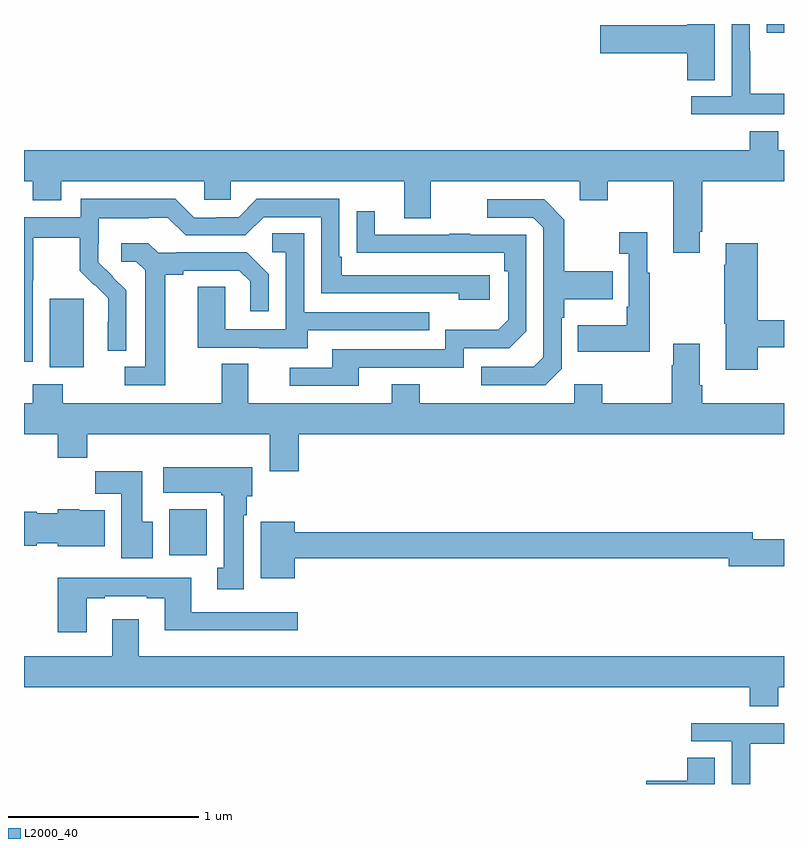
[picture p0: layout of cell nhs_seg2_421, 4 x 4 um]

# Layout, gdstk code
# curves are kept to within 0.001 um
import gdstk
lib = gdstk.Library(unit=1e-6, precision=1e-09)
def R(c, l, rs):  # rectangles x0, y0, x1, y1
    for r in rs: c.add(gdstk.rectangle(r[:2], r[2:], *l))
def P(c, l, *ps):  # polygons
    for p in ps: c.add(gdstk.Polygon(p, *l))
L2000_40 = (2000, 40)

nhs_seg2_421 = lib.new_cell('nhs_seg2_421')
R(nhs_seg2_421, L2000_40, [(131.765,643.004,131.962,643.246), (131.135,643.994,131.314,644.355), (134.909,645.753,135,645.8)])
P(nhs_seg2_421, L2000_40, [(135,645.433),(134.823,645.433),(134.823,645.656),(134.82,645.656),(134.82,645.8),(134.724,645.8),(134.724,645.42),(134.511,645.42),(134.511,645.324),(135,645.324)],
  [(134.635,645.8),(134.492,645.8),(134.492,645.794),(134.034,645.794),(134.034,645.647),(134.492,645.647),(134.492,645.505),(134.635,645.505)],
  [(134.557,644.707),(134.57,644.707),(134.57,644.972),(135,644.972),(135,645.136),(134.971,645.136),(134.971,645.235),(134.819,645.235),(134.819,645.136),(131,645.136),(131,644.972),(131.045,644.972),(131.045,644.873),(131.197,644.873),(131.197,644.972),(131.949,644.972),(131.949,644.874),(132.087,644.874),(132.087,644.972),(133.001,644.972),(133.001,644.778),(133.141,644.778),(133.141,644.972),(133.925,644.972),(133.925,644.873),(134.073,644.873),(134.073,644.972),(134.417,644.972),(134.417,644.595),(134.557,644.595)],
  [(131.046,644.452),(131.049,644.452),(131.049,644.676),(131.293,644.676),(131.293,644.501),(131.37,644.424),(131.373,644.427),(131.444,644.357),(131.444,644.234),(131.442,644.234),(131.442,644.08),(131.538,644.08),(131.538,644.398),(131.392,644.546),(131.392,644.643),(131.394,644.643),(131.394,644.777),(131.657,644.777),(131.657,644.781),(131.757,644.781),(131.85,644.688),(132.165,644.688),(132.261,644.784),(132.564,644.784),(132.564,644.382),(133.289,644.382),(133.289,644.348),(133.45,644.348),(133.45,644.478),(132.673,644.478),(132.673,644.575),(132.66,644.575),(132.66,644.88),(132.225,644.88),(132.129,644.784),(132.011,644.784),(132.011,644.781),(131.895,644.781),(131.795,644.881),(131.298,644.881),(131.298,644.784),(131,644.784),(131,644.023),(131.046,644.023)],
  [(133.83,643.986),(133.83,644.255),(133.843,644.255),(133.843,644.351),(134.099,644.351),(134.099,644.499),(133.843,644.499),(133.843,644.771),(133.737,644.877),(133.437,644.877),(133.437,644.781),(133.68,644.781),(133.734,644.727),(133.734,644.046),(133.683,643.995),(133.407,643.995),(133.407,643.899),(133.743,643.899)],
  [(132.763,643.992),(133.314,643.992),(133.314,644.094),(133.554,644.094),(133.644,644.184),(133.644,644.691),(133.349,644.691),(133.349,644.696),(133.237,644.696),(133.237,644.691),(132.847,644.691),(132.847,644.815),(132.751,644.815),(132.751,644.596),(133.528,644.595),(133.528,644.498),(133.548,644.498),(133.548,644.244),(133.495,644.191),(133.218,644.191),(133.218,644.088),(132.623,644.088),(132.623,643.992),(132.399,643.992),(132.399,643.896),(132.763,643.896)],
  [(134.293,644.491),(134.281,644.491),(134.281,644.704),(134.133,644.704),(134.133,644.591),(134.184,644.591),(134.184,644.311),(134.172,644.311),(134.172,644.215),(133.915,644.215),(133.915,644.075),(134.293,644.075)],
  [(132.493,644.187),(133.133,644.187),(133.133,644.283),(132.474,644.283),(132.474,644.699),(132.306,644.699),(132.306,644.598),(132.378,644.598),(132.378,644.193),(132.06,644.193),(132.06,644.417),(131.915,644.417),(131.915,644.097),(132.239,644.097),(132.239,644.093),(132.493,644.093)],
  [(134.861,644.098),(135,644.098),(135,644.24),(134.861,644.24),(134.861,644.647),(134.693,644.647),(134.693,644.534),(134.686,644.534),(134.686,644.223),(134.693,644.223),(134.693,643.98),(134.861,643.98)],
  [(131.743,644.48),(131.839,644.48),(131.839,644.502),(132.134,644.502),(132.191,644.445),(132.191,644.289),(132.288,644.289),(132.288,644.482),(132.172,644.598),(131.8,644.598),(131.8,644.595),(131.706,644.595),(131.654,644.647),(131.511,644.647),(131.511,644.55),(131.592,644.55),(131.639,644.503),(131.639,643.995),(131.529,643.995),(131.529,643.899),(131.743,643.899)],
  [(132.446,643.64),(135,643.64),(135,643.804),(134.57,643.804),(134.57,643.9),(134.557,643.9),(134.557,644.116),(134.417,644.116),(134.417,644.003),(134.41,644.003),(134.41,643.804),(134.043,643.804),(134.043,643.903),(133.896,643.903),(133.896,643.804),(133.083,643.804),(133.083,643.903),(132.935,643.903),(132.935,643.804),(132.181,643.804),(132.181,644.012),(132.041,644.012),(132.041,643.804),(131.205,643.804),(131.205,643.903),(131.045,643.903),(131.045,643.804),(131,643.804),(131,643.64),(131.177,643.64),(131.177,643.516),(131.333,643.516),(131.333,643.64),(132.293,643.64),(132.293,643.446),(132.446,643.446)],
  [(132.157,643.214),(132.172,643.214),(132.172,643.314),(132.202,643.314),(132.202,643.468),(131.733,643.468),(131.733,643.334),(132.037,643.334),(132.037,643.321),(132.05,643.321),(132.05,642.938),(132.017,642.938),(132.017,642.825),(132.157,642.825)],
  [(131.677,643.18),(131.623,643.18),(131.623,643.447),(131.374,643.447),(131.374,643.328),(131.513,643.328),(131.513,642.987),(131.677,642.987)],
  [(131.425,643.24),(131.292,643.24),(131.292,643.246),(131.178,643.246),(131.178,643.225),(131.067,643.225),(131.067,643.233),(131,643.233),(131,643.055),(131.067,643.055),(131.067,643.067),(131.178,643.067),(131.178,643.052),(131.425,643.052)],
  [(132.424,642.988),(134.708,642.988),(134.708,642.946),(135,642.946),(135,643.088),(134.836,643.088),(134.836,643.124),(132.424,643.124),(132.424,643.18),(132.245,643.18),(132.245,642.884),(132.424,642.884)],
  [(131.329,642.777),(131.425,642.777),(131.425,642.789),(131.645,642.789),(131.645,642.777),(131.741,642.777),(131.741,642.608),(132.442,642.608),(132.442,642.705),(131.881,642.705),(131.881,642.885),(131.417,642.885),(131.417,642.886),(131.177,642.886),(131.177,642.6),(131.329,642.6)],
  [(134.971,642.308),(135,642.308),(135,642.472),(131.605,642.472),(131.605,642.667),(131.465,642.667),(131.465,642.472),(131,642.472),(131,642.308),(134.819,642.308),(134.819,642.209),(134.971,642.209)],
  [(134.823,642.012),(135,642.012),(135,642.12),(134.511,642.12),(134.511,642.024),(134.724,642.024),(134.724,641.8),(134.823,641.8)],
  [(134.635,641.939),(134.492,641.939),(134.492,641.816),(134.274,641.816),(134.274,641.8),(134.635,641.8)])

lib.write_gds('nhs_seg2_421.gds')
